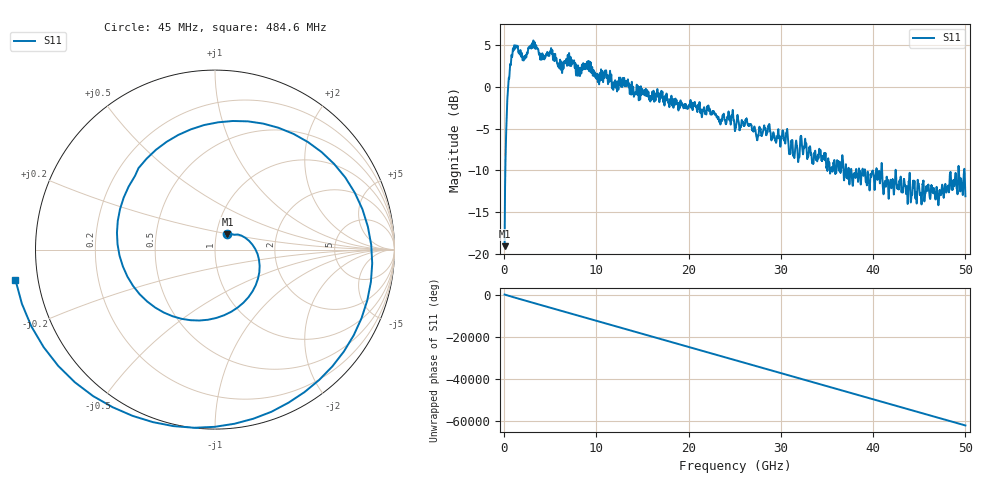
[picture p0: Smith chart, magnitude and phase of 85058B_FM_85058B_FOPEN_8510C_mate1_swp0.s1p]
!Created with skrf (http://scikit-rf.org).
# Hz S RI R 50.0
!freq ReS11 ImS11
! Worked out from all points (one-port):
!   10001 points, 45 MHz to 50 GHz, reference 50 ohm
!   lowest |S11| = -19.1 dB at 45 MHz (marker M1), VSWR 1.25, Z = 56.5 + j9.95 ohm
!   |S11| at or under -10 dB: 39.12 GHz to 40.34 GHz (1.217 GHz wide, 3.06 % of centre); 40.97 GHz to 42.43 GHz (1.46 GHz wide, 3.5 % of centre); 42.45 GHz to 49.23 GHz (6.778 GHz wide, 14.8 % of centre) (the widest 3 of 21)
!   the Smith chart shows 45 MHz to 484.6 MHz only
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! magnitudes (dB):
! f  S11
! 45 MHz  -19.1
! 319.8 MHz  -2.0
! 434.6 MHz  0.1
! 699.4 MHz  2.6
! 1.024 GHz  4.4
! 2.188 GHz  3.7
! 3.237 GHz  4.7
! 4.116 GHz  3.9
! 5.016 GHz  4.1
! 6.289 GHz  1.7
! 9.177 GHz  1.9
! 10.09 GHz  1.5
! 12.53 GHz  0.3
! 18.78 GHz  -2.0
! 25.02 GHz  -5.3
! 30.47 GHz  -6.8
! 31.27 GHz  -6.9
! 32.38 GHz  -8.0
! 33.44 GHz  -8.9
! 37.51 GHz  -10.6
! 38.94 GHz  -10.7
! 39.42 GHz  -10.3
! 40.75 GHz  -11.5
! 41.24 GHz  -11.5
! 43.76 GHz  -13.9
! 46.92 GHz  -12.3
! 49.11 GHz  -12.5
! 50 GHz  -13.1
